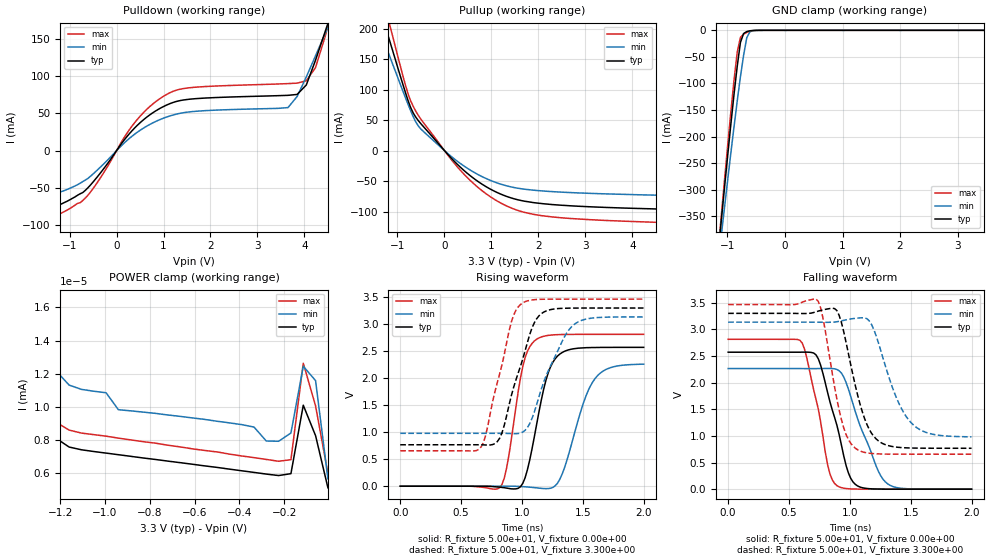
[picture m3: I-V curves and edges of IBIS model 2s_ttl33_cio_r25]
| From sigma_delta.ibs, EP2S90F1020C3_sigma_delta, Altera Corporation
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[Model] 2s_ttl33_cio_r25
Model_type I/O
Vinl  = 0.8
Vinh  = 1.7
Vmeas = 1.5675
Rref  = 1M
Cref  = 0pF
Vref  = 0
C_comp  3.00pF  NA  NA
[Temperature Range]  25.000   85.000   0.000
[Voltage Range]   3.300   3.135   3.465
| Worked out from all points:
|   slope of the pulldown table from 0 to 0.495 V, typ, clamps not added: 13.3 ohm
|   slope of the pullup table from 0 to 0.495 V, typ, clamps not added: 13.1 ohm
|   GND clamp passes 1 mA (typ) near -0.62 V on its own axis
|   rising waveform, R_fixture 5.00e+01, V_fixture 0.00e+00: 20-80 % time 143ps typ, 186ps min, 119ps max; typ from 0 V to 2.57 V
|   falling waveform, R_fixture 5.00e+01, V_fixture 0.00e+00: 20-80 % time 170ps typ, 215ps min, 142ps max; typ from 2.57 V to 0 V
|   rising waveform, R_fixture 5.00e+01, V_fixture 3.300e+00: 20-80 % time 191ps typ, 229ps min, 169ps max; typ from 0.768 V to 3.3 V
|   falling waveform, R_fixture 5.00e+01, V_fixture 3.300e+00: 20-80 % time 165ps typ, 209ps min, 138ps max; typ from 3.3 V to 0.768 V
[GND_Clamp]
| voltage   I(typ)   I(min)   I(max)
-3.3V     -2.907A    -2.551A    -3.109A
-1.16V    -416.6mA   -435.9mA   -412.4mA
-1.105V   -355mA     -383.5mA   -345.6mA
-1.05V    -294mA     -331.6mA   -279.5mA
-940mV    -175.2mA   -229.6mA   -151.6mA
-830mV    -67.05mA   -132.2mA   -40.56mA
-775mV    -22.77mA   -87.29mA   -13.36mA
-720mV    -6.04mA    -47.16mA   -7.238mA
-665mV    -2.278mA   -13.9mA    -4.022mA
-610mV    -835.8uA   -2.708mA   -1.836mA
-500mV    -67.54uA   -125.9uA   -161.4uA
3.455V    6.451nA    8.848nA    5.538nA
[Pulldown]
| voltage   I(typ)   I(min)   I(max)
-3.3V     -87mA      -70mA      -98mA
-1.935V   -85mA      -67mA      -99mA
-775mV    -57.78mA   -43.65mA   -69.77mA
-445mV    -37.88mA   -28.06mA   -45.94mA
435mV     33.55mA    24.4mA     41.37mA
1.205V    64.68mA    47.87mA    79.64mA
3.65V     74.22mA    57.81mA    89.96mA
4.04V     88.11mA    98.92mA    93.77mA
4.235V    121.1mA    127mA      111.2mA
4.43V     157.6mA    155.4mA    150.9mA
4.625V    194.1mA    183.8mA    194.7mA
6.6V      564.1mA    487.1mA    628.3mA
[POWER_Clamp]
|voltage   I(typ)   I(min)   I(max)
-3.3V     144.2uA    77.94uA    202.6uA
-1.325V   16.39nA    21.4nA     18.62nA
-1.27V    9.933nA    14.61nA    11.04nA
-1.215V   8.07nA     12.12nA    9.04nA
-1.16V    7.572nA    11.31nA    8.595nA
-940mV    7.109nA    9.824nA    8.108nA
-335mV    6.04nA     8.778nA    6.933nA
-280mV    5.939nA    7.936nA    6.823nA
-170mV    5.965nA    8.421nA    6.809nA
-115mV    10.1nA     12.45nA    12.63nA
-60mV     8.254nA    11.58nA    10.05nA
-5mV      5.111nA    5.653nA    5.978nA
[Pullup]
| voltage   I(typ)   I(min)   I(max)
-3.3V     668.3mA    550.4mA    771.1mA
-1.435V   247.3mA    209.1mA    284.7mA
-1.38V    233.7mA    198.1mA    268.8mA
-1.27V    206.3mA    175.9mA    236.9mA
-1.16V    178.5mA    153.6mA    204.6mA
-775mV    82.2mA     75.94mA    93.16mA
-555mV    49.06mA    40.22mA    57.52mA
490mV     -37.51mA   -29.13mA   -44.52mA
930mV     -61.17mA   -47.31mA   -73.21mA
1.37V     -76.43mA   -58.71mA   -92.44mA
2.48V     -89.62mA   -68.15mA   -110.2mA
6.6V      -103mA     -79mA      -125mA
[Rising Waveform]
R_fixture = 5.00e+01
V_fixture = 0.00e+00
V_fixture_min = 0.00e+00
V_fixture_max = 0.00e+00
|Time   Typ(v)   Min(v)   Max(v)
0s        0V         0V         0V
817ps     -17.65mV   12.37uV    -26.67mV
874ps     -34.32mV   645.5uV    339mV
1.026ns   157.7mV    -11mV      2.381V
1.178ns   1.792V     -43.22mV   2.776V
1.254ns   2.295V     -21.73mV   2.801V
1.33ns    2.475V     223.2mV    2.809V
1.501ns   2.561V     1.513V     2.812V
1.601ns   2.568V     1.994V     2.812V
2ns       2.571V     2.26V      2.812V
[Falling Waveform]
R_fixture = 5.00e+01
V_fixture = 0.00e+00
V_fixture_min = 0.00e+00
V_fixture_max = 0.00e+00
|Time   Typ(v)   Min(v)   Max(v)
0s        2.571V     2.264V     2.813V
608ps     2.572V     2.263V     2.745V
741ps     2.446V     2.264V     1.499V
817ps     1.815V     2.266V     461.2mV
893ps     1.204V     2.247V     67.76mV
969ps     443.5mV    2.002V     12.01mV
1.026ns   134.8mV    1.597V     3.625mV
1.216ns   3.15mV     433.2mV    73.77uV
1.292ns   801uV      135.3mV    7.626uV
2ns       -12.18uV   -16.46uV   -3.943uV
[Rising Waveform]
R_fixture = 5.00e+01
V_fixture = 3.300e+00
V_fixture_min = 3.135e+00
V_fixture_max = 3.465e+00
|Time   Typ(v)   Min(v)   Max(v)
0s        767.7mV    979.5mV    656.1mV
665ps     767.1mV    979.5mV    729.2mV
703ps     763.7mV    979.5mV    951.2mV
817ps     889.5mV    979.7mV    2.082V
912ps     1.67V      974.2mV    3.034V
1.007ns   2.358V     1.003V     3.395V
1.064ns   2.809V     1.16V      3.442V
1.14ns    3.155V     1.658V     3.459V
1.406ns   3.298V     2.948V     3.464V
2ns       3.299V     3.134V     3.465V
[Falling Waveform]
R_fixture = 5.00e+01
V_fixture = 3.300e+00
V_fixture_min = 3.135e+00
V_fixture_max = 3.465e+00
|Time   Typ(v)   Min(v)   Max(v)
0s        3.3V       3.135V     3.465V
741ps     3.343V     3.134V     3.522V
874ps     3.39V      3.137V     1.926V
950ps     2.951V     3.169V     1.147V
1.026ns   2.134V     3.201V     808.1mV
1.14ns    1.215V     3.2V       681.3mV
1.254ns   876.1mV    2.601V     660.6mV
1.387ns   788.1mV    1.692V     656.7mV
1.501ns   772.6mV    1.252V     656.3mV
2ns       767.7mV    982.3mV    656.1mV
[Ramp]
dV/dt_r 1.615e+000/1.520e-010 1.334e+000/1.830e-010 1.804e+000/1.330e-010
dV/dt_f 1.626e+000/1.710e-010 1.448e+000/2.280e-010 1.910e+000/1.520e-010
